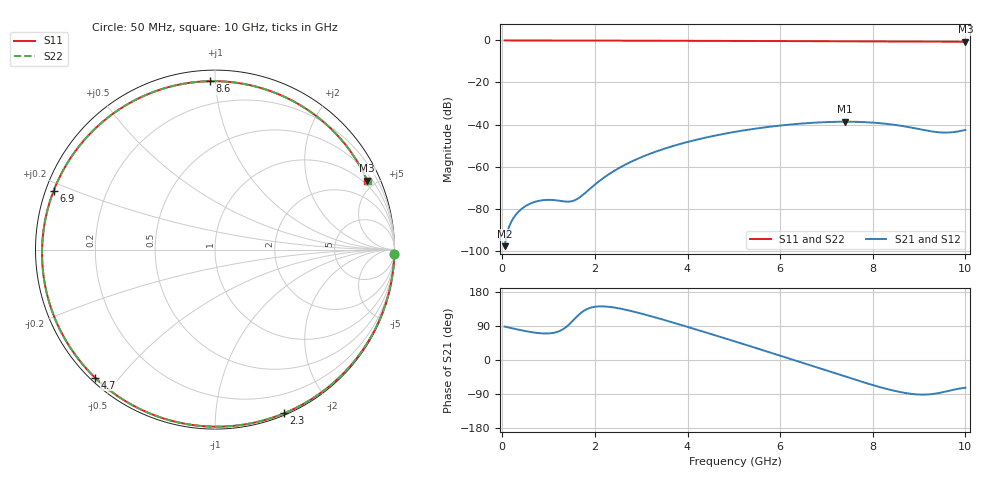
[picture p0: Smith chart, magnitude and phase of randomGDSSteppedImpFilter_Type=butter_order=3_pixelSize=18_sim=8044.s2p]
! freq	dB(S11)	phase(S11)	dB(S12)	phase(S12)
!  dB(S21)	phase(S21)	dB(S22)	phase(S22)
!S-par simulation data
#  GHz  S  DB  R 50
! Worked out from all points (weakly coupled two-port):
!   200 points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, 50 MHz to 10 GHz, reference 50 ohm
!   highest |S21| = -38.67 dB at 7.4 GHz (marker M1); lowest = -97.9 dB at 50 MHz (marker M2)
!   lowest |S11| = -0.6 dB at 10 GHz (marker M3), VSWR 28.19, Z = 38.7 + j225 ohm
!   |S11| at or under -10 dB: nowhere
!   |S22| runs from -0.6 to 0.0 dB; largest |S21 - S12| = 0
!   S11 on the Smith chart (normalised r, x): 50 MHz: 0, -76; 2.3 GHz: 0.02, -1.51; 4.7 GHz: 0.01, -0.43; 6.9 GHz: 0.02, +0.18; 8.6 GHz: 0.06, +0.97; 10 GHz: 0.77, +4.50
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0.05  -0.00 -1.5  -97.89 88.2  -97.89 88.2  -0.00 -1.5
0.4  -0.01 -12.0  -80.47 78.7  -80.47 78.7  -0.01 -12.0
0.65  -0.02 -19.4  -77.22 73.1  -77.22 73.1  -0.02 -19.4
0.9  -0.03 -26.8  -75.94 70.1  -75.94 70.1  -0.03 -26.8
1.5  -0.06 -44.3  -76.50 100.7  -76.50 100.7  -0.06 -44.3
1.75  -0.07 -51.5  -73.30 128.9  -73.30 128.9  -0.07 -51.5
2.3  -0.09 -67.1  -63.68 140.4  -63.68 140.4  -0.09 -67.1
2.8  -0.10 -81.1  -57.54 128.7  -57.54 128.7  -0.10 -81.1
3.4  -0.13 -97.5  -52.25 109.0  -52.25 109.0  -0.13 -97.6
4.05  -0.16 -115.3  -48.02 85.6  -48.02 85.6  -0.16 -115.3
4.7  -0.20 -133.1  -44.81 61.3  -44.81 61.3  -0.20 -133.2
5.05  -0.22 -142.9  -43.39 48.0  -43.39 48.0  -0.22 -142.9
5.9  -0.29 -167.6  -40.73 15.3  -40.73 15.3  -0.29 -167.7
6.7  -0.36 166.9  -39.17 -16.0  -39.17 -16.0  -0.36 166.8
6.9  -0.38 160.1  -38.94 -23.9  -38.94 -23.9  -0.38 160.0
7.4  -0.44 142.0  -38.67 -43.5  -38.67 -43.5  -0.44 141.9
7.9  -0.49 122.3  -38.95 -62.5  -38.95 -62.5  -0.49 122.1
8.35  -0.53 103.0  -39.81 -77.9  -39.81 -77.9  -0.53 102.9
8.6  -0.55 91.8  -40.58 -84.8  -40.58 -84.8  -0.55 91.6
9.25  -0.59 60.9  -43.20 -90.3  -43.20 -90.3  -0.59 60.8
9.6  -0.60 43.8  -43.84 -82.5  -43.84 -82.5  -0.60 43.6
10  -0.62 24.4  -42.57 -73.2  -42.57 -73.2  -0.62 24.2
